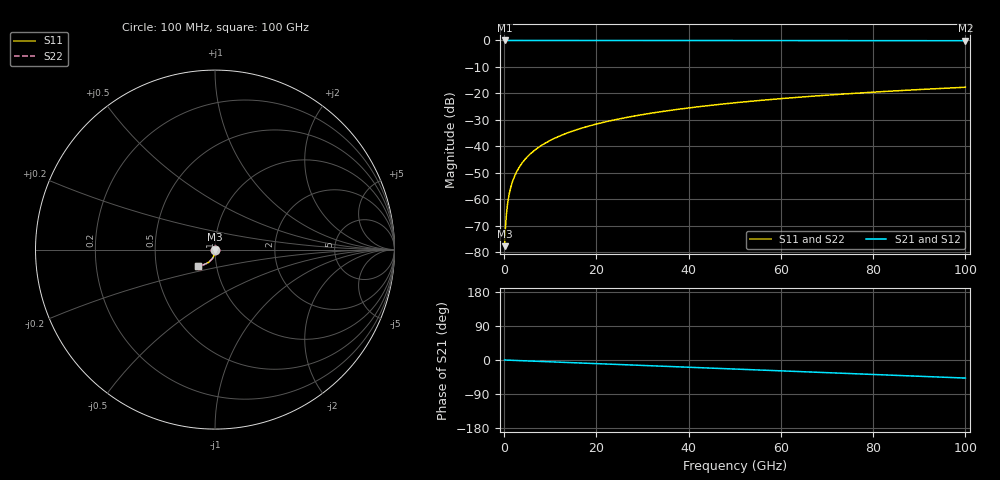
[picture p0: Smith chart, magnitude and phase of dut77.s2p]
! Touchstone file exported from HFSS 2026.1.0
!  File:  C:/ffzhzh/LocalFiles/Ansys_Project_Files/temp_train_TSV_77_1783505388_41296.aedt
!  Generated:  06:10:57 PM Jul  8, 2026
!  Design:  TSV
!  Project:  temp_train_TSV_77_1783505388_41296
! Variables:
!  h_bsmrdl = 2um
!  h_ox = 20um
!  h_rdl = 5um
!  h_sub = 97.92um
!  h_tmrdl = 5um
!  h_tsv = 97.92um
!  h_via = 3um
!  l_bsmrdl = 300um
!  l_sub = 426.34um
!  l_tmrdl = 200um
!  m_sub = 200um
!  pitch = 45.56um
!  r_tsv = 13.17um
!  s_tmrdl = 10um
!  w_bsmrdl = 18um
!  w_sub = 500um
!  w_tmrdl = 12um
!  x_tsv_center1 = 206um
!  x_tsv_center2 = 524um
!  x_tsv_center3 = 736um
!  x_tsv_center4 = 1054um
!  x_tsv_center5 = 1266um
!  x_tsv_center6 = 1584um
# GHz S MA R 50.000000
! Terminal data exported
! Port[1] = TSV1_1_T1
! Port[2] = TSV1_1_T2
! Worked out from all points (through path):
!   1000 points, 100 MHz to 100 GHz, reference 50 ohm
!   highest |S21| = 0.00 dB at 100 MHz (marker M1); lowest = -0.1 dB at 100 GHz (marker M2)
!   group delay of S21, straight-line fit = 1.32 ps
!   lowest |S11| = -77.8 dB at 100 MHz (marker M3), VSWR 1.00, Z = 50 - j0.00803 ohm
!   |S11| at or under -10 dB: start of sweep to end of sweep
!   |S22| runs from -77.8 to -17.7 dB; largest |S21 - S12| = 3.6e-15
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0.1  0.0001287 -38.6  0.9999 -0.1  0.9999 -0.1  0.0001287 -38.6
! Gamma 0 0 0 0
! Port Impedance 50 0 50 0
0.4  0.0004052 -65.2  0.9998 -0.2  0.9998 -0.2  0.0004052 -65.2
0.8  0.0008795 -73.2  0.9997 -0.4  0.9997 -0.4  0.0008795 -73.2
1.1  0.001251 -76.4  0.9997 -0.5  0.9997 -0.5  0.001251 -76.4
1.4  0.001625 -78.6  0.9997 -0.7  0.9997 -0.7  0.001625 -78.6
1.8  0.002127 -80.5  0.9996 -0.9  0.9996 -0.9  0.002127 -80.5
2.4  0.002888 -82.4  0.9996 -1.2  0.9996 -1.2  0.002888 -82.4
3  0.003658 -83.7  0.9995 -1.5  0.9995 -1.5  0.003658 -83.7
3.8  0.004695 -85.0  0.9994 -1.8  0.9994 -1.8  0.004695 -85.0
4.8  0.006003 -86.3  0.9994 -2.3  0.9994 -2.3  0.006003 -86.3
5.9  0.007449 -87.5  0.9993 -2.8  0.9993 -2.8  0.007449 -87.5
7.2  0.009164 -88.6  0.9992 -3.5  0.9992 -3.5  0.009164 -88.6
8.7  0.01115 -89.8  0.9991 -4.2  0.9991 -4.2  0.01115 -89.8
12.3  0.01594 -92.2  0.9988 -5.9  0.9988 -5.9  0.01594 -92.2
16.8  0.02196 -94.9  0.9986 -8.0  0.9986 -8.0  0.02196 -94.9
24.1  0.03173 -98.9  0.998 -11.5  0.998 -11.5  0.03173 -98.9
33.4  0.04417 -103.8  0.9973 -16.0  0.9973 -16.0  0.04417 -103.8
41.2  0.05456 -107.7  0.9966 -19.7  0.9966 -19.7  0.05456 -107.7
50.1  0.06636 -112.2  0.9956 -23.9  0.9956 -23.9  0.06636 -112.2
66.7  0.08811 -120.3  0.9936 -31.8  0.9936 -31.8  0.08811 -120.3
83.4  0.1096 -128.5  0.991 -39.8  0.991 -39.8  0.1096 -128.5
100  0.1304 -136.7  0.9879 -47.7  0.9879 -47.7  0.1304 -136.7
